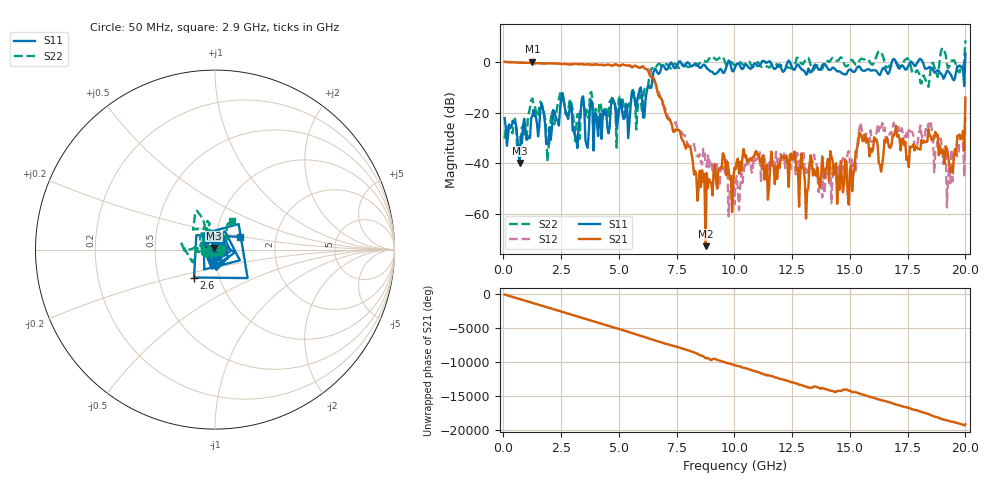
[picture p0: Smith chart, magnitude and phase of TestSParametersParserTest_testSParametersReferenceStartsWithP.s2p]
! File created by SignalIntegrity v1.5.1: Signal and Power Integrity Tools
! https://github.com/Nubis-Communications/SignalIntegrity
# MHz S MA R 50.0
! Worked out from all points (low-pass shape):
!   400 points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, 50 MHz to 20 GHz, reference 50 ohm
!   highest |S21| = 0.07 dB at 1.25 GHz (marker M1); lowest = -72.6 dB at 8.75 GHz (marker M2)
!   |S21| within 3 dB of the highest: start of sweep to 6.182 GHz
!   lowest |S11| = -39.9 dB at 700 MHz (marker M3), VSWR 1.02, Z = 49.4 + j0.835 ohm
!   |S11| at or under -10 dB: start of sweep to 6.25 GHz; 6.331 GHz to 6.403 GHz (71.64 MHz wide, 1.13 % of centre)
!   |S22| runs from -39.1 to 8.4 dB; largest |S21 - S12| = 0.16
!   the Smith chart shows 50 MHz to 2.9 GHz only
!   S11 on the Smith chart (normalised r, x): 50 MHz: 0.98, -0.15; 2.6 GHz: 0.76, -0.24; 2.9 GHz: 1.31, +0.19
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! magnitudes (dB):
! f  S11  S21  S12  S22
! 50 MHz  -22.2  0.0  0.0  -30.2
! 700 MHz  -39.9  -0.3  -0.3  -31.4
! 1.25 GHz  -21.4  0.1  0.3  -14.5
! 1.9 GHz  -32.4  -0.6  -0.6  -39.1
! 2.6 GHz  -14.2  -0.8  -0.8  -15.6
! 2.9 GHz  -16.1  -1.1  -1.1  -14.7
! 3.4 GHz  -14.1  -1.0  -0.8  -15.5
! 4.9 GHz  -25.6  -1.2  -1.2  -33.8
! 6.7 GHz  -4.7  -13.0  -11.4  -0.9
! 8.7 GHz  -1.2  -44.1  -35.5  0.4
! 8.75 GHz  -1.8  -72.6  -39.5  0.0
! 8.8 GHz  -2.5  -43.7  -41.4  -0.1
! 10.05 GHz  -1.7  -42.3  -47.5  -1.4
! 12.9 GHz  -3.0  -36.2  -35.4  -0.8
! 13.1 GHz  -5.1  -61.7  -42.2  1.1
! 13.35 GHz  -3.9  -39.1  -39.5  -2.9
! 16.7 GHz  -4.2  -33.6  -28.9  -1.6
! 18.5 GHz  -2.6  -29.6  -23.2  -2.4
! 19.15 GHz  -4.7  -33.3  -33.5  2.5
! 19.2 GHz  -3.5  -34.1  -57.3  -0.8
! 19.95 GHz  -9.6  -35.1  -45.2  0.0
! 20 GHz  3.1  -14.1  -21.7  8.4
